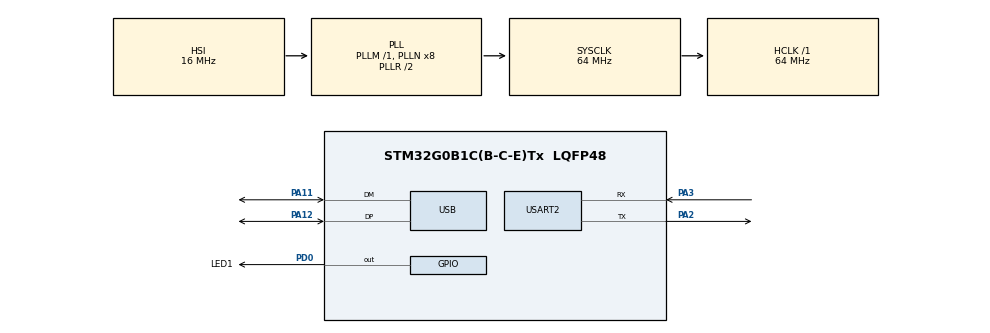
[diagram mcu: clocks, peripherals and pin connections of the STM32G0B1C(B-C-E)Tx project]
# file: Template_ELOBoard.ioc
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Mcu.Family=STM32G0
Mcu.Name=STM32G0B1C(B-C-E)Tx
Mcu.Package=LQFP48
NVIC.USB_UCPD1_2_IRQn=true\:0\:0\:false\:false\:true\:true\:true\:true
PA11\ [PA9].Mode=Device
PA11\ [PA9].Signal=USB_DM
PA12\ [PA10].Mode=Device
PA12\ [PA10].Signal=USB_DP
PA2.Mode=Asynchronous
PA2.Signal=USART2_TX
PA3.Mode=Asynchronous
PA3.Signal=USART2_RX
PD0.GPIO_Label=LED1
PD0.Signal=GPIO_Output
ProjectManager.HeapSize=0x200
ProjectManager.StackSize=0x400
ProjectManager.TargetToolchain=STM32CubeIDE
RCC.ADCFreq_Value=64000000
RCC.AHBFreq_Value=64000000
RCC.CortexFreq_Value=64000000
RCC.EXTERNAL_CLOCK_VALUE=48000
RCC.HCLKFreq_Value=64000000
RCC.HSE_VALUE=8000000
RCC.HSI48_VALUE=48000000
RCC.HSI_VALUE=16000000
RCC.LSE_VALUE=32768
RCC.SYSCLKFreq_VALUE=64000000
RCC.SYSCLKSource=RCC_SYSCLKSOURCE_PLLCLK
RCC.USBFreq_Value=48000000
RCC.VCOOutputFreq_Value=128000000
USART2.VirtualMode-Asynchronous=VM_ASYNC
USB_DEVICE.CLASS_NAME_FS=CDC
USB_DEVICE.VirtualMode=Cdc
USB_DEVICE.VirtualModeFS=Cdc_FS
VP_SYS_VS_DBSignals.Mode=DisableDeadBatterySignals
VP_USB_DEVICE_VS_USB_DEVICE_CDC_FS.Mode=CDC_FS
board=custom

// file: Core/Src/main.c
/* USER CODE BEGIN Header */
/**
  ******************************************************************************
  * @file           : main.c
  * @brief          : Main program body
  ******************************************************************************
  * @attention
  *
  * Copyright (c) 2025 STMicroelectronics.
  * All rights reserved.
  *
  * This software is licensed under terms that can be found in the LICENSE file
  * in the root directory of this software component.
  * If no LICENSE file comes with this software, it is provided AS-IS.
  *
  ******************************************************************************
  */
/* USER CODE END Header */
#include "main.h"
#include "usart.h"
#include "usb_device.h"
#include "gpio.h"

/* USER CODE BEGIN Includes */
#include <unistd.h>
#include <sys/unistd.h>
#include "usbd_cdc_if.h"
/* USER CODE END Includes */

void SystemClock_Config(void);

int main(void)
{

  /* MCU Configuration--------------------------------------------------------*/

  /* Reset of all peripherals, Initializes the Flash interface and the Systick. */
  HAL_Init();

  /* Configure the system clock */
  SystemClock_Config();

  /* Initialize all configured peripherals */
  MX_GPIO_Init();
  MX_USB_Device_Init();
  MX_USART2_UART_Init();

  /* Infinite loop */
  /* USER CODE BEGIN WHILE */
  while (1)
  {
    HAL_Delay(500);
    HAL_GPIO_TogglePin(LED1_GPIO_Port, LED1_Pin);
    printf("Hello from CDC!\r\n");
    fprintf(stderr, "Hello from UART2!\r\n");
    /* USER CODE END WHILE */

  }
}

void SystemClock_Config(void)
{
  RCC_OscInitTypeDef RCC_OscInitStruct = {0};
  RCC_ClkInitTypeDef RCC_ClkInitStruct = {0};

  /** Configure the main internal regulator output voltage
  */
  HAL_PWREx_ControlVoltageScaling(PWR_REGULATOR_VOLTAGE_SCALE1);

  /** Initializes the RCC Oscillators according to the specified parameters
  * in the RCC_OscInitTypeDef structure.
  */
  RCC_OscInitStruct.OscillatorType = RCC_OSCILLATORTYPE_HSI|RCC_OSCILLATORTYPE_HSI48;
  RCC_OscInitStruct.HSIState = RCC_HSI_ON;
  RCC_OscInitStruct.HSI48State = RCC_HSI48_ON;
  RCC_OscInitStruct.HSIDiv = RCC_HSI_DIV1;
  RCC_OscInitStruct.HSICalibrationValue = RCC_HSICALIBRATION_DEFAULT;
  RCC_OscInitStruct.PLL.PLLState = RCC_PLL_ON;
  RCC_OscInitStruct.PLL.PLLSource = RCC_PLLSOURCE_HSI;
  RCC_OscInitStruct.PLL.PLLM = RCC_PLLM_DIV1;
  RCC_OscInitStruct.PLL.PLLN = 8;
  RCC_OscInitStruct.PLL.PLLP = RCC_PLLP_DIV2;
  RCC_OscInitStruct.PLL.PLLQ = RCC_PLLQ_DIV2;
  RCC_OscInitStruct.PLL.PLLR = RCC_PLLR_DIV2;
  if (HAL_RCC_OscConfig(&RCC_OscInitStruct) != HAL_OK)
  {
    Error_Handler();
  }

  /** Initializes the CPU, AHB and APB buses clocks
  */
  RCC_ClkInitStruct.ClockType = RCC_CLOCKTYPE_HCLK|RCC_CLOCKTYPE_SYSCLK
                              |RCC_CLOCKTYPE_PCLK1;
  RCC_ClkInitStruct.SYSCLKSource = RCC_SYSCLKSOURCE_PLLCLK;
  RCC_ClkInitStruct.AHBCLKDivider = RCC_SYSCLK_DIV1;
  RCC_ClkInitStruct.APB1CLKDivider = RCC_HCLK_DIV1;

  if (HAL_RCC_ClockConfig(&RCC_ClkInitStruct, FLASH_LATENCY_2) != HAL_OK)
  {
    Error_Handler();
  }
}

/* USER CODE BEGIN 4 */

/*
 * @brief Retargets the C library printf function to the USB CDC.
 * @param file: File descriptor.
 * @param data: Pointer to data buffer.
 * @param len: Length of data.
 * @return Number of bytes written.
 */
int _write(int file, char *data, int len)
{

  switch (file)
  {
    case STDOUT_FILENO: /* stdout */
      /* Send data over USB CDC */
      CDC_Transmit_FS((uint8_t*)data, len);
      break;

    case STDERR_FILENO: /* stderr */
      /* Send data over huart2 */
      HAL_UART_Transmit(&huart2, (uint8_t*)data, len, HAL_MAX_DELAY);
      break;
    default:
      return -1;
  }

  return len;
}

/* USER CODE END 4 */

void Error_Handler(void)
{
  __disable_irq();
  while (1)
  {
  }
}
